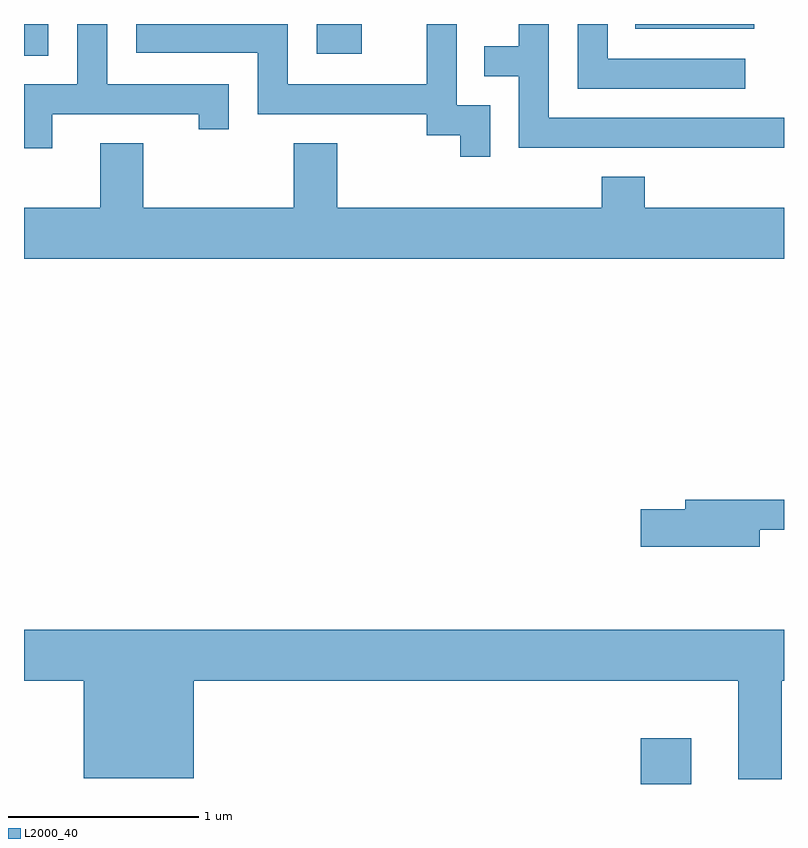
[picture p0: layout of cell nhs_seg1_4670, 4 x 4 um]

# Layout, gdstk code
import gdstk
lib = gdstk.Library(unit=1e-6, precision=1e-09)
def R(c, l, rs):  # rectangles x0, y0, x1, y1
    for r in rs: c.add(gdstk.rectangle(r[:2], r[2:], *l))
def P(c, l, *ps):  # polygons
    for p in ps: c.add(gdstk.Polygon(p, *l))
L2000_40 = (2000, 40)

nhs_seg1_4670 = lib.new_cell('nhs_seg1_4670')
R(nhs_seg1_4670, L2000_40, [(328.856,885.712,329.124,885.954), (325.611,889.546,325.739,889.712), (327.151,889.556,327.388,889.712), (328.828,889.686,329.454,889.712)])
P(nhs_seg1_4670, L2000_40, [(328.064,889.284),(327.889,889.284),(327.889,889.712),(327.731,889.712),(327.731,889.394),(326.999,889.394),(326.999,889.712),(326.201,889.712),(326.201,889.561),(326.841,889.561),(326.841,889.236),(327.731,889.236),(327.731,889.126),(327.906,889.126),(327.906,889.013),(328.064,889.013)],
  [(325.759,889.236),(326.531,889.236),(326.531,889.158),(326.689,889.158),(326.689,889.394),(326.049,889.394),(326.049,889.712),(325.891,889.712),(325.891,889.394),(325.611,889.394),(325.611,889.058),(325.759,889.058)],
  [(329.408,889.529),(328.684,889.529),(328.684,889.712),(328.526,889.712),(328.526,889.371),(329.408,889.371)],
  [(329.611,889.219),(328.374,889.219),(328.374,889.712),(328.216,889.712),(328.216,889.594),(328.033,889.594),(328.033,889.436),(328.216,889.436),(328.216,889.061),(329.611,889.061)],
  [(329.611,888.744),(328.879,888.744),(328.879,888.909),(328.651,888.909),(328.651,888.744),(327.259,888.744),(327.259,889.084),(327.031,889.084),(327.031,888.744),(326.239,888.744),(326.239,889.084),(326.011,889.084),(326.011,888.744),(325.611,888.744),(325.611,888.476),(329.611,888.476)],
  [(329.484,887.051),(329.611,887.051),(329.611,887.209),(329.091,887.209),(329.091,887.159),(328.856,887.159),(328.856,886.961),(329.484,886.961)],
  [(329.599,886.256),(329.611,886.256),(329.611,886.524),(325.611,886.524),(325.611,886.256),(325.926,886.256),(325.926,885.741),(326.504,885.741),(326.504,886.256),(329.371,886.256),(329.371,885.736),(329.599,885.736)])

lib.write_gds('nhs_seg1_4670.gds')
